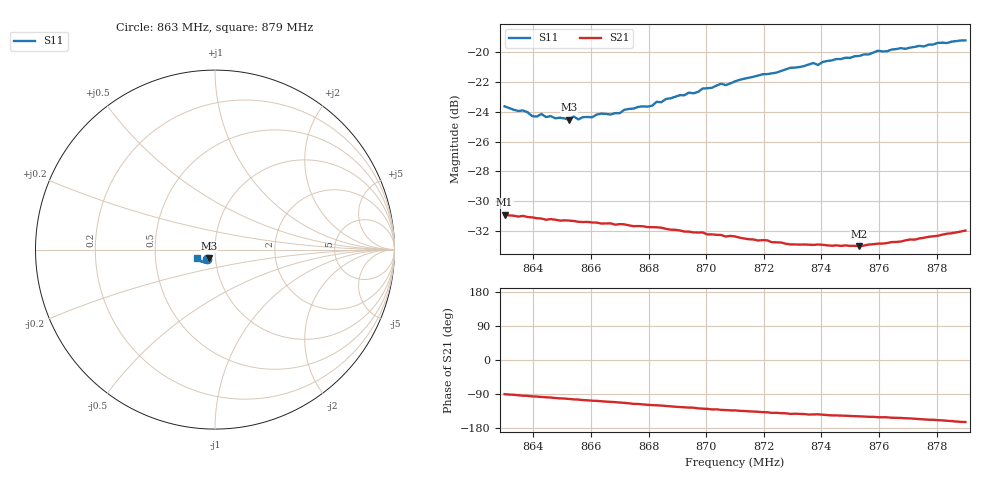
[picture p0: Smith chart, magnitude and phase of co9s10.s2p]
# HZ S RI R 50
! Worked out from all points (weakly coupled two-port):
!   101 points, 863 MHz to 879 MHz, reference 50 ohm
!   highest |S21| = -30.90 dB at 863 MHz (marker M1); lowest = -33.0 dB at 875.32 MHz (marker M2)
!   lowest |S11| = -24.5 dB at 865.24 MHz (marker M3), VSWR 1.13, Z = 46.6 - j4.6 ohm
!   |S11| at or under -10 dB: start of sweep to end of sweep
!   S12 and S22 are empty: the file has one direction only
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8.63e8  -0.0431 -0.0497  -6.5e-05 -0.0285  0 0  0 0
8.6364e8  -0.0409 -0.0489  -0.00206 -0.0282  0 0  0 0
8.6396e8  -0.0373 -0.0482  -0.00293 -0.0278  0 0  0 0
8.6428e8  -0.0364 -0.0502  -0.00363 -0.0274  0 0  0 0
8.6444e8  -0.0362 -0.0486  -0.00398 -0.0271  0 0  0 0
8.6524e8  -0.0334 -0.0492  -0.00605 -0.0266  0 0  0 0
8.654e8  -0.0329 -0.0512  -0.00652 -0.0264  0 0  0 0
8.6556e8  -0.0329 -0.0496  -0.00671 -0.0261  0 0  0 0
8.6572e8  -0.0319 -0.0514  -0.00731 -0.0259  0 0  0 0
8.67e8  -0.0303 -0.0546  -0.01 -0.0245  0 0  0 0
8.6716e8  -0.0306 -0.0563  -0.0104 -0.0244  0 0  0 0
8.6844e8  -0.0321 -0.0598  -0.013 -0.0223  0 0  0 0
8.6972e8  -0.0353 -0.0646  -0.0152 -0.0197  0 0  0 0
8.6988e8  -0.0357 -0.0666  -0.0155 -0.0195  0 0  0 0
8.71e8  -0.0418 -0.068  -0.0165 -0.0176  0 0  0 0
8.7292e8  -0.0536 -0.0705  -0.0179 -0.0139  0 0  0 0
8.7372e8  -0.058 -0.0714  -0.0182 -0.0134  0 0  0 0
8.7388e8  -0.058 -0.0695  -0.0182 -0.0136  0 0  0 0
8.742e8  -0.0621 -0.0697  -0.0185 -0.0128  0 0  0 0
8.7532e8  -0.0701 -0.0671  -0.0191 -0.0116  0 0  0 0
8.7644e8  -0.08 -0.0633  -0.0204 -0.0107  0 0  0 0
8.79e8  -0.0993 -0.0459  -0.0242 -0.0071  0 0  0 0
